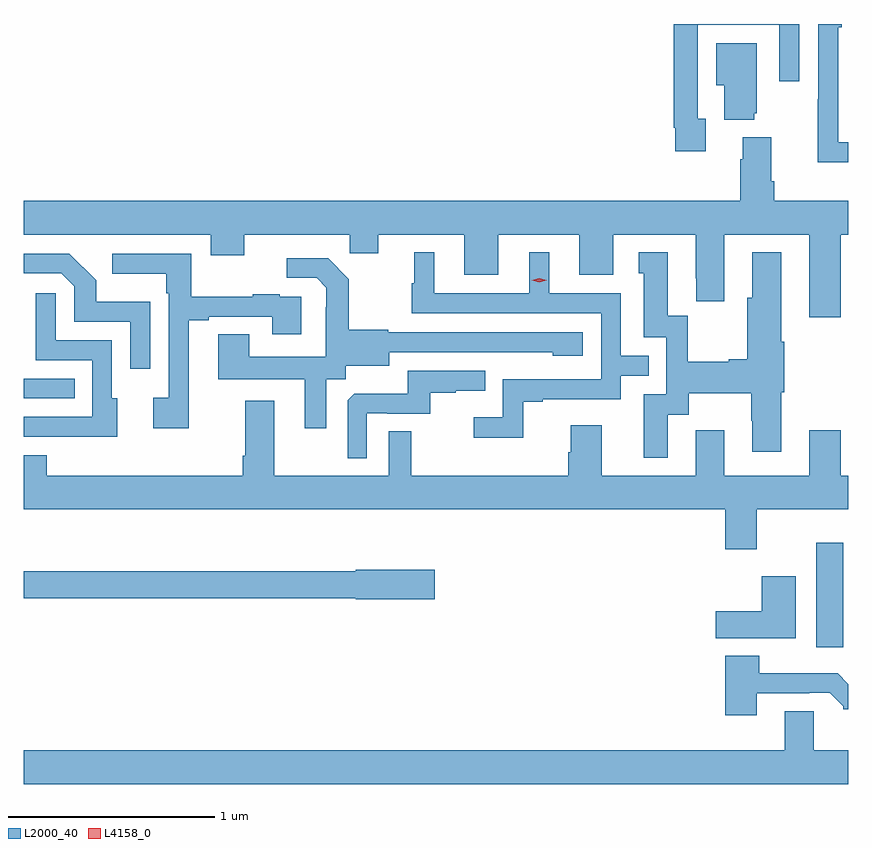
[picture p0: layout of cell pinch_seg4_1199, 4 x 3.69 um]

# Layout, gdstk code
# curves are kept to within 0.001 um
import gdstk
lib = gdstk.Library(unit=1e-6, precision=1e-09)
def R(c, l, rs):  # rectangles x0, y0, x1, y1
    for r in rs: c.add(gdstk.rectangle(r[:2], r[2:], *l))
def P(c, l, *ps):  # polygons
    for p in ps: c.add(gdstk.Polygon(p, *l))
L2000_40 = (2000, 40)
L4158_0 = (4158, 0)

pinch_seg4_1199 = lib.new_cell('pinch_seg4_1199')
R(pinch_seg4_1199, L2000_40, [(376.04,818.796,376.171,819.301), (372.196,820.002,372.443,820.098)])
P(pinch_seg4_1199, L2000_40, [(375.505,821.358),(375.465,821.358),(375.465,821.814),(375.861,821.814),(375.861,821.541),(375.957,821.541),(375.957,821.818),(375.349,821.818),(375.349,821.314),(375.357,821.314),(375.357,821.202),(375.505,821.202)],
  [(376.196,821.244),(376.147,821.244),(376.147,821.471),(376.146,821.471),(376.146,821.802),(376.165,821.802),(376.165,821.818),(376.05,821.818),(376.05,821.453),(376.048,821.453),(376.048,821.147),(376.196,821.147)],
  [(375.74,821.385),(375.751,821.385),(375.751,821.725),(375.554,821.725),(375.554,821.522),(375.593,821.522),(375.593,821.354),(375.74,821.354)],
  [(376.16,820.796),(376.196,820.796),(376.196,820.96),(375.836,820.96),(375.836,821.056),(375.823,821.056),(375.823,821.269),(375.683,821.269),(375.683,821.162),(375.671,821.162),(375.671,820.96),(372.196,820.96),(372.196,820.796),(373.103,820.796),(373.103,820.697),(373.267,820.697),(373.267,820.796),(373.777,820.796),(373.777,820.706),(373.915,820.706),(373.915,820.796),(374.333,820.796),(374.333,820.602),(374.497,820.602),(374.497,820.796),(374.891,820.796),(374.891,820.602),(375.055,820.602),(375.055,820.796),(375.455,820.796),(375.455,820.585),(375.458,820.585),(375.458,820.473),(375.595,820.473),(375.595,820.796),(376.007,820.796),(376.007,820.395),(376.16,820.395)],
  [(375.319,819.922),(375.421,819.922),(375.421,820.028),(375.724,820.028),(375.724,819.894),(375.731,819.894),(375.731,819.744),(375.871,819.744),(375.871,820.032),(375.884,820.032),(375.884,820.276),(375.871,820.276),(375.871,820.711),(375.731,820.711),(375.731,820.491),(375.706,820.491),(375.706,820.193),(375.617,820.193),(375.617,820.18),(375.417,820.18),(375.417,820.403),(375.319,820.403),(375.319,820.711),(375.179,820.711),(375.179,820.608),(375.203,820.608),(375.203,820.299),(375.312,820.299),(375.312,820.023),(375.203,820.023),(375.203,819.714),(375.319,819.714)],
  [(374.619,819.987),(374.713,819.987),(374.713,819.999),(375.093,819.999),(375.093,820.113),(375.227,820.113),(375.227,820.209),(375.093,820.209),(375.093,820.512),(374.746,820.512),(374.746,820.711),(374.648,820.711),(374.648,820.512),(374.188,820.512),(374.188,820.711),(374.09,820.711),(374.09,820.56),(374.079,820.56),(374.079,820.416),(374.997,820.416),(374.997,820.095),(374.52,820.095),(374.52,819.91),(374.379,819.91),(374.379,819.812),(374.619,819.812)],
  [(372.81,820.471),(372.549,820.471),(372.549,820.574),(372.418,820.704),(372.196,820.704),(372.196,820.608),(372.378,820.608),(372.441,820.545),(372.441,820.374),(372.714,820.374),(372.714,820.146),(372.81,820.146)],
  [(372.997,820.38),(373.093,820.38),(373.093,820.398),(373.403,820.398),(373.403,820.314),(373.543,820.314),(373.543,820.494),(373.439,820.494),(373.439,820.507),(373.307,820.507),(373.307,820.496),(373.009,820.496),(373.009,820.704),(372.627,820.704),(372.627,820.607),(372.888,820.607),(372.888,820.511),(372.9,820.511),(372.9,820.006),(372.825,820.006),(372.825,819.858),(372.997,819.858)],
  [(373.663,820.096),(373.758,820.096),(373.758,820.16),(373.969,820.16),(373.969,820.227),(374.763,820.226),(374.763,820.208),(374.908,820.208),(374.908,820.323),(373.965,820.323),(373.965,820.336),(373.773,820.336),(373.773,820.581),(373.673,820.681),(373.473,820.681),(373.473,820.587),(373.617,820.587),(373.664,820.54),(373.664,820.445),(373.662,820.445),(373.662,820.204),(373.291,820.204),(373.291,820.313),(373.139,820.313),(373.139,820.094),(373.559,820.094),(373.559,819.858),(373.663,819.858)],
  [(372.649,820.002),(372.624,820.002),(372.624,820.284),(372.351,820.284),(372.351,820.513),(372.255,820.513),(372.255,820.188),(372.528,820.188),(372.528,819.912),(372.196,819.912),(372.196,819.816),(372.431,819.816),(372.431,819.815),(372.649,819.815)],
  [(373.86,819.93),(373.96,819.93),(373.96,819.927),(374.168,819.927),(374.168,820.029),(374.291,820.029),(374.291,820.04),(374.435,820.04),(374.435,820.137),(374.058,820.137),(374.058,820.025),(373.799,820.025),(373.767,819.993),(373.767,819.713),(373.86,819.713)],
  [(375.751,819.464),(376.196,819.464),(376.196,819.628),(376.16,819.628),(376.16,819.847),(376.007,819.847),(376.007,819.628),(375.595,819.628),(375.595,819.847),(375.455,819.847),(375.455,819.628),(375.001,819.628),(375.001,819.871),(374.849,819.871),(374.849,819.741),(374.837,819.741),(374.837,819.628),(374.077,819.628),(374.077,819.842),(373.968,819.842),(373.968,819.628),(373.411,819.628),(373.411,819.991),(373.271,819.991),(373.271,819.724),(373.259,819.724),(373.259,819.628),(372.307,819.628),(372.307,819.727),(372.196,819.727),(372.196,819.464),(375.599,819.464),(375.599,819.27),(375.751,819.27)],
  [(374.191,819.171),(373.806,819.171),(373.806,819.163),(372.196,819.163),(372.196,819.034),(373.806,819.034),(373.806,819.029),(374.191,819.029)],
  [(375.94,819.139),(375.776,819.139),(375.776,818.97),(375.552,818.97),(375.552,818.84),(375.94,818.84)],
  [(375.751,818.571),(376.007,818.571),(376.007,818.574),(376.106,818.574),(376.17,818.51),(376.17,818.495),(376.196,818.495),(376.196,818.617),(376.145,818.668),(375.764,818.668),(375.764,818.755),(375.599,818.755),(375.599,818.466),(375.751,818.466)],
  [(376.196,818.296),(376.027,818.296),(376.027,818.486),(375.887,818.486),(375.887,818.296),(372.196,818.296),(372.196,818.132),(376.196,818.132)])
P(pinch_seg4_1199, L4158_0, [(374.697,820.565),(374.661,820.574),(374.661,820.574),(374.661,820.574),(374.697,820.585),(374.732,820.576),(374.733,820.576),(374.732,820.576)])

lib.write_gds('pinch_seg4_1199.gds')
